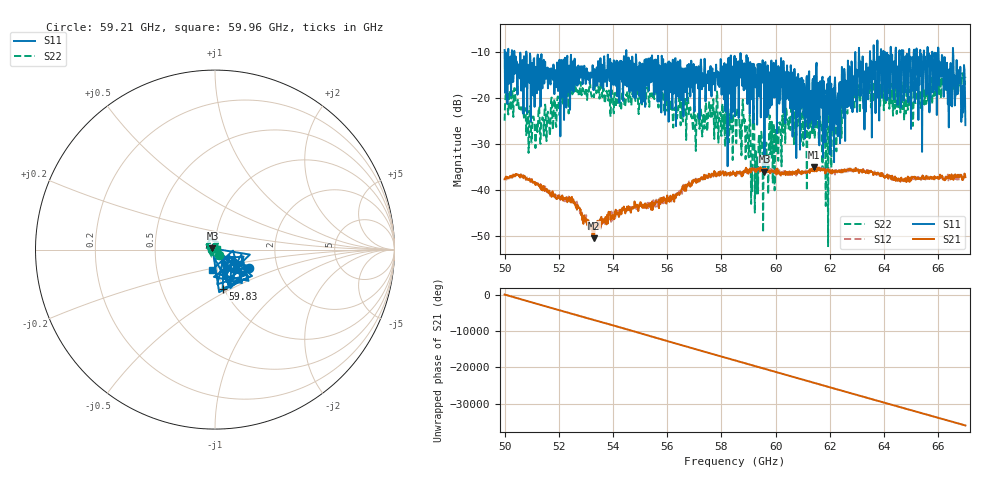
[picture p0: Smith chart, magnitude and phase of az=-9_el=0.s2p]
!Created with skrf (http://scikit-rf.org).
# GHz S RI R 50.0
!freq ReS11 ImS11 ReS21 ImS21 ReS12 ImS12 ReS22 ImS22
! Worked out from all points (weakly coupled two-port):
!   1001 points, 50 GHz to 67 GHz, reference 50 ohm
!   highest |S21| = -35.03 dB at 61.41 GHz (marker M1); lowest = -50.5 dB at 53.3 GHz (marker M2)
!   lowest |S11| = -36.1 dB at 59.59 GHz (marker M3), VSWR 1.03, Z = 48.6 + j0.652 ohm
!   |S11| at or under -10 dB: 50.8 GHz to 54.49 GHz (3.688 GHz wide, 7.01 % of centre); 54.49 GHz to 63.07 GHz (8.581 GHz wide, 14.6 % of centre); 66.01 GHz to 66.54 GHz (532.4 MHz wide, 0.803 % of centre) (the widest 3 of 25)
!   |S22| runs from -52.2 to -14.0 dB; largest |S21 - S12| = 0.0021
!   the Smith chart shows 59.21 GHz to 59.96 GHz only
!   S11 on the Smith chart (normalised r, x): 59.21 GHz: 1.43, -0.32; 59.83 GHz: 0.99, -0.45; 59.96 GHz: 0.95, -0.21
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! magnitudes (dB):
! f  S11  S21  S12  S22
! 50 GHz  -9.6  -37.7  -37.9  -25.0
! 50.42 GHz  -13.3  -36.7  -36.9  -21.5
! 51.07 GHz  -11.7  -38.2  -38.2  -24.1
! 52.84 GHz  -13.9  -45.1  -45.3  -19.5
! 53.3 GHz  -15.3  -50.5  -49.3  -19.9
! 55.68 GHz  -13.5  -42.4  -43.6  -22.1
! 56.99 GHz  -15.0  -37.8  -38.1  -22.0
! 58.5 GHz  -24.0  -36.9  -36.5  -23.8
! 59.21 GHz  -13.2  -35.3  -35.5  -28.5
! 59.59 GHz  -36.1  -35.4  -35.6  -30.7
! 59.83 GHz  -13.1  -36.0  -35.6  -30.8
! 59.96 GHz  -19.0  -36.3  -36.1  -40.1
! 60.64 GHz  -14.5  -36.2  -36.3  -22.3
! 61.34 GHz  -24.7  -35.4  -35.7  -25.8
! 61.41 GHz  -16.5  -35.0  -35.9  -21.7
! 61.88 GHz  -26.4  -35.6  -36.1  -22.9
! 62.55 GHz  -14.9  -35.5  -35.8  -19.4
! 64.18 GHz  -17.7  -36.9  -37.3  -18.8
! 66.08 GHz  -14.9  -37.0  -37.4  -15.5
! 66.42 GHz  -15.3  -37.3  -37.4  -16.5
! 66.75 GHz  -16.7  -37.1  -37.2  -18.1
! 67 GHz  -26.0  -37.2  -37.0  -15.5
